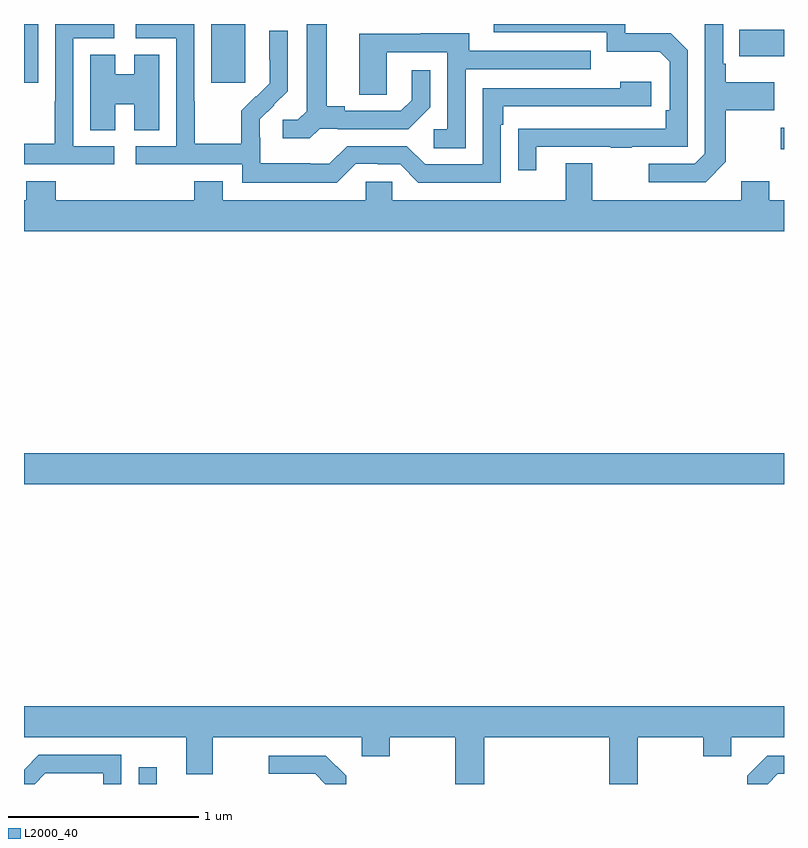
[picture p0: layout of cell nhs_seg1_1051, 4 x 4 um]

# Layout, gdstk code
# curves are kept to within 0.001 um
import gdstk
lib = gdstk.Library(unit=1e-6, precision=1e-09)
def R(c, l, rs):  # rectangles x0, y0, x1, y1
    for r in rs: c.add(gdstk.rectangle(r[:2], r[2:], *l))
def P(c, l, *ps):  # polygons
    for p in ps: c.add(gdstk.Polygon(p, *l))
L2000_40 = (2000, 40)

nhs_seg1_1051 = lib.new_cell('nhs_seg1_1051')
R(nhs_seg1_1051, L2000_40, [(169.603,506.199,169.699,506.287), (169,507.776,173,507.94), (172.983,509.541,173,509.654), (169,509.889,169.075,510.199), (169.985,509.889,170.164,510.199), (172.765,510.029,173,510.169)])
P(nhs_seg1_1051, L2000_40, [(170.556,509.649),(170.65,509.649),(170.65,509.646),(171.022,509.646),(171.138,509.762),(171.138,509.956),(171.041,509.956),(171.041,509.799),(170.984,509.742),(170.689,509.742),(170.689,509.765),(170.593,509.765),(170.593,510.199),(170.489,510.199),(170.489,509.741),(170.442,509.694),(170.361,509.694),(170.361,509.597),(170.504,509.597)],
  [(170.745,509.463),(170.861,509.463),(170.861,509.46),(170.979,509.46),(171.075,509.364),(171.51,509.364),(171.51,509.669),(171.523,509.669),(171.523,509.766),(172.3,509.766),(172.3,509.896),(172.139,509.896),(172.139,509.862),(171.414,509.862),(171.414,509.46),(171.111,509.46),(171.015,509.556),(170.7,509.556),(170.607,509.463),(170.507,509.463),(170.507,509.467),(170.244,509.467),(170.244,509.601),(170.242,509.601),(170.242,509.698),(170.388,509.846),(170.388,510.164),(170.292,510.164),(170.292,510.01),(170.294,510.01),(170.294,509.888),(170.223,509.817),(170.22,509.82),(170.143,509.743),(170.143,509.569),(169.899,509.569),(169.899,509.792),(169.896,509.792),(169.896,510.199),(169.587,510.199),(169.587,510.123),(169.8,510.123),(169.8,509.556),(169.587,509.556),(169.587,509.46),(170.148,509.46),(170.148,509.363),(170.645,509.363)],
  [(169.474,509.556),(169.26,509.556),(169.26,510.123),(169.474,510.123),(169.474,510.199),(169.164,510.199),(169.164,509.792),(169.162,509.792),(169.162,509.569),(169,509.569),(169,509.46),(169.474,509.46)],
  [(171.697,509.553),(172.087,509.553),(172.087,509.548),(172.199,509.548),(172.199,509.553),(172.494,509.553),(172.494,510.06),(172.404,510.15),(172.164,510.15),(172.164,510.199),(171.473,510.199),(171.473,510.156),(172.068,510.156),(172.068,510.053),(172.345,510.053),(172.398,510),(172.398,509.746),(172.378,509.746),(172.378,509.649),(171.601,509.648),(171.601,509.43),(171.697,509.43)],
  [(172.693,509.473),(172.693,509.746),(172.949,509.746),(172.949,509.893),(172.693,509.893),(172.693,509.989),(172.68,509.989),(172.68,510.199),(172.583,510.199),(172.584,509.517),(172.53,509.463),(172.287,509.463),(172.287,509.367),(172.587,509.367)],
  [(171.324,509.961),(171.983,509.961),(171.983,510.057),(171.343,510.057),(171.343,510.151),(171.089,510.151),(171.089,510.147),(170.765,510.147),(170.765,509.827),(170.91,509.827),(170.91,510.051),(171.228,510.051),(171.228,509.646),(171.156,509.646),(171.156,509.545),(171.324,509.545)],
  [(169.48,509.777),(169.58,509.777),(169.58,509.641),(169.711,509.641),(169.711,510.038),(169.58,510.038),(169.58,509.935),(169.48,509.935),(169.48,510.038),(169.349,510.038),(169.349,509.641),(169.48,509.641)],
  [(173,509.272),(172.923,509.272),(172.923,509.371),(172.775,509.371),(172.775,509.272),(171.991,509.272),(171.991,509.467),(171.851,509.467),(171.851,509.272),(170.937,509.272),(170.937,509.37),(170.799,509.37),(170.799,509.272),(170.047,509.272),(170.047,509.371),(169.895,509.371),(169.895,509.272),(169.166,509.272),(169.166,509.371),(169.013,509.371),(169.013,509.272),(169,509.272),(169,509.108),(173,509.108)],
  [(171.422,506.444),(172.079,506.444),(172.079,506.199),(172.231,506.199),(172.231,506.444),(172.576,506.444),(172.576,506.345),(172.723,506.345),(172.723,506.444),(173,506.444),(173,506.608),(169,506.608),(169,506.444),(169.853,506.444),(169.853,506.25),(169.993,506.25),(169.993,506.444),(170.777,506.444),(170.777,506.345),(170.925,506.345),(170.925,506.444),(171.269,506.444),(171.269,506.199),(171.422,506.199)],
  [(169.113,506.256),(169.416,506.256),(169.416,506.199),(169.512,506.199),(169.512,506.352),(169.077,506.352),(169,506.275),(169,506.199),(169.056,506.199)],
  [(172.968,506.253),(173,506.253),(173,506.349),(172.911,506.349),(172.806,506.243),(172.806,506.199),(172.914,506.199)],
  [(170.695,506.243),(170.589,506.349),(170.289,506.349),(170.289,506.253),(170.532,506.253),(170.586,506.199),(170.695,506.199)])

lib.write_gds('nhs_seg1_1051.gds')
